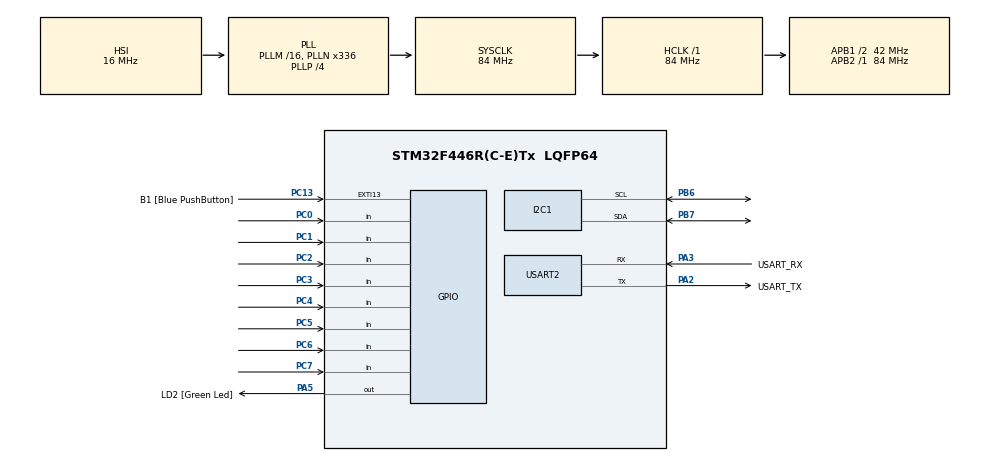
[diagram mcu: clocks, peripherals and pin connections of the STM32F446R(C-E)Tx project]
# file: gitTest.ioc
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Mcu.Family=STM32F4
PH0-OSC_IN.Signal=RCC_OSC_IN
RCC.CortexFreq_Value=84000000
PA14.GPIO_Label=TCK
PC13.GPIO_Label=B1 [Blue PushButton]
RCC.SYSCLKSource=RCC_SYSCLKSOURCE_PLLCLK
ProjectManager.StackSize=0x400
RCC.HCLKFreq_Value=84000000
RCC.APB2TimFreq_Value=84000000
PB6.Signal=I2C1_SCL
PC7.Signal=GPIO_Input
PB6.Mode=I2C
PC3.Signal=GPIO_Input
RCC.AHBFreq_Value=84000000
PH0-OSC_IN.Mode=HSE-External-Oscillator
RCC.HSE_VALUE=8000000
PC1.GPIO_PuPd=GPIO_PULLUP
PC14-OSC32_IN.Mode=LSE-External-Oscillator
PA14.Mode=Serial_Wire
PB7.Signal=I2C1_SDA
RCC.FLatency-AdvancedSettings=FLASH_LATENCY_2
PH1-OSC_OUT.Mode=HSE-External-Oscillator
Mcu.Package=LQFP64
USART2.VirtualMode=VM_ASYNC
PA2.GPIO_Label=USART_TX
PC6.GPIO_PuPd=GPIO_PULLUP
RCC.APB1TimFreq_Value=84000000
PC5.Signal=GPIO_Input
PC0.GPIO_PuPd=GPIO_PULLUP
PA3.Signal=USART2_RX
PB3.GPIO_Label=SWO
PC15-OSC32_OUT.Mode=LSE-External-Oscillator
PC4.GPIO_PuPd=GPIO_PULLUP
PC13.Signal=GPXTI13
PC2.Signal=GPIO_Input
PC4.Signal=GPIO_Input
PC6.Signal=GPIO_Input
PC0.Signal=GPIO_Input
RCC.APB1CLKDivider=RCC_HCLK_DIV2
PC14-OSC32_IN.Signal=RCC_OSC32_IN
PC5.GPIO_PuPd=GPIO_PULLUP
PA13.Signal=SYS_JTMS-SWDIO
PA3.Mode=Asynchronous
ProjectManager.TargetToolchain=STM32CubeIDE
I2C1.I2C_Mode=I2C_Fast
RCC.USBFreq_Value=168000000
PC7.GPIO_PuPd=GPIO_PULLUP
PC15-OSC32_OUT.Signal=RCC_OSC32_OUT
PA5.Signal=GPIO_Output
board=NUCLEO-F446RE
RCC.VCOOutputFreq_Value=336000000
RCC.APB2Freq_Value=84000000
PH1-OSC_OUT.Signal=RCC_OSC_OUT
PC2.GPIO_PuPd=GPIO_PULLUP
PA13.Mode=Serial_Wire
Mcu.Name=STM32F446R(C-E)Tx
PA13.GPIO_Label=TMS
PA2.Signal=USART2_TX
RCC.48MHZClocksFreq_Value=84000000
PB3.Signal=SYS_JTDO-SWO
RCC.SYSCLKFreq_VALUE=84000000
PA5.GPIO_Label=LD2 [Green Led]
PC13.GPIO_ModeDefaultEXTI=GPIO_MODE_IT_FALLING
PB7.Mode=I2C
PA14.Signal=SYS_JTCK-SWCLK
ProjectManager.HeapSize=0x200
RCC.HSI_VALUE=16000000
RCC.PLLP=RCC_PLLP_DIV4
NVIC.PriorityGroup=NVIC_PRIORITYGROUP_0
RCC.PLLN=336
PA2.Mode=Asynchronous
RCC.APB1Freq_Value=42000000
PC1.Signal=GPIO_Input
PC3.GPIO_PuPd=GPIO_PULLUP
PA3.GPIO_Label=USART_RX

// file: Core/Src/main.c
/* USER CODE BEGIN Header */
/**
  * Using OLED driver library and fonts library that I modified courtesy of Tilen Majerle and Alexander Lutsai
  ******************************************************************************
  * @file           : main.c
  * @brief          : Main program body
  ******************************************************************************
  * @attention
  *
  * <h2><center>&copy; Copyright (c) 2021 STMicroelectronics.
  * All rights reserved.</center></h2>
  *
  * This software component is licensed by ST under BSD 3-Clause license,
  * the "License"; You may not use this file except in compliance with the
  * License. You may obtain a copy of the License at:
  *                        opensource.org/licenses/BSD-3-Clause
  *
  ******************************************************************************
  */
/* USER CODE END Header */
#include "main.h"

/* USER CODE BEGIN Includes */
#include "ssd1306.h"
#include "GPIOController.h"
#include "ball.h"
/* USER CODE END Includes */

/* USER CODE BEGIN PTD */
//extern FontDef_t Font11x18;
/* USER CODE END PTD */

I2C_HandleTypeDef hi2c1;

UART_HandleTypeDef huart2;

void SystemClock_Config(void);
static void MX_GPIO_Init(void);
static void MX_USART2_UART_Init(void);
static void MX_I2C1_Init(void);
/* USER CODE BEGIN PFP */
void printButtons(uint8_t reg); // For debug
void drawBallAnimation();
void ballControl(uint8_t reg);
/* USER CODE END PFP */

/* USER CODE BEGIN 0 */
uint8_t ball[] = {
		0x06, 0x0F, 0x0F, 0x06
};
/* USER CODE END 0 */

int main(void)
{

  /* MCU Configuration--------------------------------------------------------*/

  /* Reset of all peripherals, Initializes the Flash interface and the Systick. */
  HAL_Init();

  /* Configure the system clock */
  SystemClock_Config();

  /* Initialize all configured peripherals */
  MX_GPIO_Init();
  MX_USART2_UART_Init();
  MX_I2C1_Init();
  /* USER CODE BEGIN 2 */
  SSD1306_Init();
  GPIOController_init();
  SSD1306_GotoXY(23, 25);
  SSD1306_Puts("Welcome", &Font_11x18, 1);
  SSD1306_UpdateScreen();
  HAL_Delay(1000);
  SSD1306_Clear();
  /* USER CODE END 2 */

  /* Infinite loop */
  /* USER CODE BEGIN WHILE */
  drawBallAnimation();
  SSD1306_Clear();

  uint8_t myButtons = 0x00;
  while (1)
  {
	  myButtons = GPIOController_getButtonState();
	  ballControl(myButtons);
	  HAL_Delay(1);
    /* USER CODE END WHILE */

  }
}

void SystemClock_Config(void)
{
  RCC_OscInitTypeDef RCC_OscInitStruct = {0};
  RCC_ClkInitTypeDef RCC_ClkInitStruct = {0};

  /** Configure the main internal regulator output voltage
  */
  __HAL_RCC_PWR_CLK_ENABLE();
  __HAL_PWR_VOLTAGESCALING_CONFIG(PWR_REGULATOR_VOLTAGE_SCALE3);
  /** Initializes the RCC Oscillators according to the specified parameters
  * in the RCC_OscInitTypeDef structure.
  */
  RCC_OscInitStruct.OscillatorType = RCC_OSCILLATORTYPE_HSI;
  RCC_OscInitStruct.HSIState = RCC_HSI_ON;
  RCC_OscInitStruct.HSICalibrationValue = RCC_HSICALIBRATION_DEFAULT;
  RCC_OscInitStruct.PLL.PLLState = RCC_PLL_ON;
  RCC_OscInitStruct.PLL.PLLSource = RCC_PLLSOURCE_HSI;
  RCC_OscInitStruct.PLL.PLLM = 16;
  RCC_OscInitStruct.PLL.PLLN = 336;
  RCC_OscInitStruct.PLL.PLLP = RCC_PLLP_DIV4;
  RCC_OscInitStruct.PLL.PLLQ = 2;
  RCC_OscInitStruct.PLL.PLLR = 2;
  if (HAL_RCC_OscConfig(&RCC_OscInitStruct) != HAL_OK)
  {
    Error_Handler();
  }
  /** Initializes the CPU, AHB and APB buses clocks
  */
  RCC_ClkInitStruct.ClockType = RCC_CLOCKTYPE_HCLK|RCC_CLOCKTYPE_SYSCLK
                              |RCC_CLOCKTYPE_PCLK1|RCC_CLOCKTYPE_PCLK2;
  RCC_ClkInitStruct.SYSCLKSource = RCC_SYSCLKSOURCE_PLLCLK;
  RCC_ClkInitStruct.AHBCLKDivider = RCC_SYSCLK_DIV1;
  RCC_ClkInitStruct.APB1CLKDivider = RCC_HCLK_DIV2;
  RCC_ClkInitStruct.APB2CLKDivider = RCC_HCLK_DIV1;

  if (HAL_RCC_ClockConfig(&RCC_ClkInitStruct, FLASH_LATENCY_2) != HAL_OK)
  {
    Error_Handler();
  }
}

static void MX_I2C1_Init(void)
{

  hi2c1.Instance = I2C1;
  hi2c1.Init.ClockSpeed = 400000;
  hi2c1.Init.DutyCycle = I2C_DUTYCYCLE_2;
  hi2c1.Init.OwnAddress1 = 0;
  hi2c1.Init.AddressingMode = I2C_ADDRESSINGMODE_7BIT;
  hi2c1.Init.DualAddressMode = I2C_DUALADDRESS_DISABLE;
  hi2c1.Init.OwnAddress2 = 0;
  hi2c1.Init.GeneralCallMode = I2C_GENERALCALL_DISABLE;
  hi2c1.Init.NoStretchMode = I2C_NOSTRETCH_DISABLE;
  if (HAL_I2C_Init(&hi2c1) != HAL_OK)
  {
    Error_Handler();
  }

}

static void MX_USART2_UART_Init(void)
{

  huart2.Instance = USART2;
  huart2.Init.BaudRate = 115200;
  huart2.Init.WordLength = UART_WORDLENGTH_8B;
  huart2.Init.StopBits = UART_STOPBITS_1;
  huart2.Init.Parity = UART_PARITY_NONE;
  huart2.Init.Mode = UART_MODE_TX_RX;
  huart2.Init.HwFlowCtl = UART_HWCONTROL_NONE;
  huart2.Init.OverSampling = UART_OVERSAMPLING_16;
  if (HAL_UART_Init(&huart2) != HAL_OK)
  {
    Error_Handler();
  }

}

static void MX_GPIO_Init(void)
{
  GPIO_InitTypeDef GPIO_InitStruct = {0};

  /* GPIO Ports Clock Enable */
  __HAL_RCC_GPIOC_CLK_ENABLE();
  __HAL_RCC_GPIOH_CLK_ENABLE();
  __HAL_RCC_GPIOA_CLK_ENABLE();
  __HAL_RCC_GPIOB_CLK_ENABLE();

  /*Configure GPIO pin Output Level */
  HAL_GPIO_WritePin(LD2_GPIO_Port, LD2_Pin, GPIO_PIN_RESET);

  /*Configure GPIO pin : B1_Pin */
  GPIO_InitStruct.Pin = B1_Pin;
  GPIO_InitStruct.Mode = GPIO_MODE_IT_FALLING;
  GPIO_InitStruct.Pull = GPIO_NOPULL;
  HAL_GPIO_Init(B1_GPIO_Port, &GPIO_InitStruct);

  /*Configure GPIO pins : PC0 PC1 PC2 PC3
                           PC4 PC5 PC6 PC7 */
  GPIO_InitStruct.Pin = GPIO_PIN_0|GPIO_PIN_1|GPIO_PIN_2|GPIO_PIN_3
                          |GPIO_PIN_4|GPIO_PIN_5|GPIO_PIN_6|GPIO_PIN_7;
  GPIO_InitStruct.Mode = GPIO_MODE_INPUT;
  GPIO_InitStruct.Pull = GPIO_PULLUP;
  HAL_GPIO_Init(GPIOC, &GPIO_InitStruct);

  /*Configure GPIO pin : LD2_Pin */
  GPIO_InitStruct.Pin = LD2_Pin;
  GPIO_InitStruct.Mode = GPIO_MODE_OUTPUT_PP;
  GPIO_InitStruct.Pull = GPIO_NOPULL;
  GPIO_InitStruct.Speed = GPIO_SPEED_FREQ_LOW;
  HAL_GPIO_Init(LD2_GPIO_Port, &GPIO_InitStruct);

}

/* USER CODE BEGIN 4 */
void printButtons(uint8_t reg) {
	char temp[22];
	sprintf(temp, "Current status: 0x%02x\n", reg);
	HAL_UART_Transmit(&huart2, temp, 21, 10);

	if (GPIOCONTROLLER_BUTTON_ACTION & reg) {
		HAL_UART_Transmit(&huart2, "Action Button Pressed\n", 22, 10);
		SSD1306_GotoXY(112, 22);
		SSD1306_Puts("A", &Font_11x18, 1);
	}
	else {
		SSD1306_GotoXY(112, 22);
		SSD1306_Puts(" ", &Font_11x18, 1);
	}

	if (GPIOCONTROLLER_BUTTON_SECONDARY & reg) {
		HAL_UART_Transmit(&huart2, "Secondary Button Pressed\n", 25, 10);
		SSD1306_GotoXY(96, 22);
		SSD1306_Puts("B", &Font_11x18, 1);
	}
	else {
		SSD1306_GotoXY(96, 22);
		SSD1306_Puts(" ", &Font_11x18, 1);
	}

	if (GPIOCONTROLLER_BUTTON_UP & reg) {
		HAL_UART_Transmit(&huart2, "UP Button Pressed\n", 18, 10);
		SSD1306_GotoXY(32, 0);
		SSD1306_Puts("UP", &Font_11x18, 1);
	}
	else {
		SSD1306_GotoXY(32,0);
		SSD1306_Puts("  ", &Font_11x18, 1);
	}

	if (GPIOCONTROLLER_BUTTON_RIGHT & reg) {
		HAL_UART_Transmit(&huart2, "RIGHT Button Pressed\n", 21, 10);
		SSD1306_GotoXY(64, 22);
		SSD1306_Puts("RT", &Font_11x18, 1);
	}
	else {
		SSD1306_GotoXY(64, 22);
		SSD1306_Puts("  ", &Font_11x18, 1);
	}

	if (GPIOCONTROLLER_BUTTON_DOWN & reg) {
		HAL_UART_Transmit(&huart2, "DOWN Button Pressed\n", 20, 10);
		SSD1306_GotoXY(32, 45);
		SSD1306_Puts("DN", &Font_11x18, 1);
	} else {
		SSD1306_GotoXY(32, 45);
		SSD1306_Puts("  ", &Font_11x18, 1);
	}

	if (GPIOCONTROLLER_BUTTON_LEFT & reg) {
		HAL_UART_Transmit(&huart2, "LEFT Button Pressed\n", 20, 10);
		SSD1306_GotoXY(0, 22);
		SSD1306_Puts("LT", &Font_11x18, 1);
	} else {
		SSD1306_GotoXY(0, 22);
		SSD1306_Puts("  ", &Font_11x18, 1);
	}

	SSD1306_UpdateScreen();
}

void drawBallAnimation() {
	ball_init();
	for (int x = 2; x + 4 <= WIDTH - 3; x += 4) {
		ball_setPosition(x, HEIGHT >> 1);
		ball_draw();
		SSD1306_UpdateScreen();
		HAL_Delay(50);
	}
	for (int x = WIDTH - 3; x - 4 >= 0; x -= 4) {
		ball_setPosition(x, HEIGHT >> 1);
		ball_draw();
		SSD1306_UpdateScreen();
		HAL_Delay(50);
	}
}

void ballControl(uint8_t reg) {
	int x = ball_getX();
	int y = ball_getY();

	if (GPIOCONTROLLER_BUTTON_UP & reg) {
		HAL_UART_Transmit(&huart2, "UP Button Pressed\n", 18, 10);
		if (y - 4 >= 2) {
			y -= 4;
		}
	}
	if (GPIOCONTROLLER_BUTTON_RIGHT & reg) {
		HAL_UART_Transmit(&huart2, "RIGHT Button Pressed\n", 21, 10);
		if (x + 4 < WIDTH - 2) {
			x += 4;
		}
	}
	if (GPIOCONTROLLER_BUTTON_DOWN & reg) {
		HAL_UART_Transmit(&huart2, "DOWN Button Pressed\n", 20, 10);
		if (y + 4 < HEIGHT - 2) {
			y += 4;
		}
	}
	if (GPIOCONTROLLER_BUTTON_LEFT & reg) {
		HAL_UART_Transmit(&huart2, "LEFT Button Pressed\n", 20, 10);
		if (x - 4 >= 2) {
			x -= 4;
		}
	}

	ball_setPosition(x, y);
	ball_draw();
	SSD1306_UpdateScreen();
}
/* USER CODE END 4 */

void Error_Handler(void)
{
  __disable_irq();
  while (1)
  {
  }
}

/************************ (C) COPYRIGHT STMicroelectronics *****END OF FILE****/
